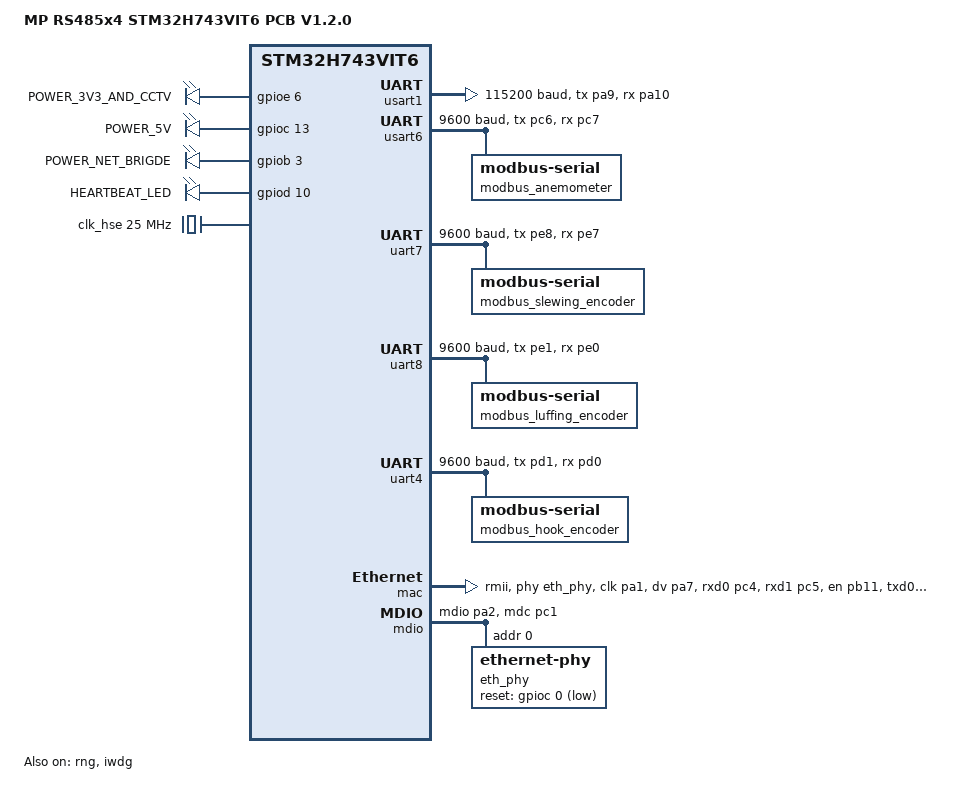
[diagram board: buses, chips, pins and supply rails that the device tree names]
/*
 * SPDX-License-Identifier: Apache-2.0
 */

/dts-v1/;
#include <st/h7/stm32h743Xi.dtsi>
#include <st/h7/stm32h743vitx-pinctrl.dtsi>
#include <zephyr/dt-bindings/gpio/gpio.h>

/ {
	model = "MP RS485x4 STM32H743VIT6 PCB V1.2.0";
	compatible = "mp,mp-rs485x4-stm32h743vit6";

	chosen {
		zephyr,sram = &sram0;
		zephyr,flash = &flash0;
		zephyr,code-partition = &slot0_partition;
		zephyr,console = &usart1;
		zephyr,shell-uart = &usart1;
	};

	aliases {
		power-3v3-and-cctv = &power_3v3_and_cctv;
		power-5v = &power_5v;
		power-net-brigde = &power_net_brigde;
		modbus-slewing-encoder = &modbus_slewing_encoder;
		modbus-luffing-encoder = &modbus_luffing_encoder;
		modbus-hook-encoder = &modbus_hook_encoder;
		modbus-anemometer = &modbus_anemometer;
		heartbeat-led = &heartbeat_led;
		watchdog0 = &iwdg;
	};

	power_control {
		compatible = "gpio-leds";

		power_3v3_and_cctv: power_3v3_and_cctv {
			gpios = <&gpioe 6 GPIO_ACTIVE_HIGH>;
			label = "POWER_3V3_AND_CCTV";
		};

		power_5v: power_5v {
			gpios = <&gpioc 13 GPIO_ACTIVE_HIGH>;
			label = "POWER_5V";
		};

		power_net_brigde: power_net_brigde {
			gpios = <&gpiob 3 GPIO_ACTIVE_HIGH>;
			label = "POWER_NET_BRIGDE";
		};
	};

	leds {
		compatible = "gpio-leds";

		heartbeat_led: heartbeat_led {
			gpios = <&gpiod 10 GPIO_ACTIVE_HIGH>;
			label = "HEARTBEAT_LED";
		};
	};
};

&flash0 {
	partitions {
		compatible = "fixed-partitions";
		#address-cells = <1>;
		#size-cells = <1>;

		boot_partition: partition@0 {
			label = "mcuboot";
			reg = <0x00000000 0x00020000>;
		};

		slot0_partition: partition@20000 {
			label = "image-0";
			reg = <0x00020000 0x000c0000>;
		};

		slot1_partition: partition@e0000 {
			label = "image-1";
			reg = <0x000e0000 0x000c0000>;
		};

		scratch_partition: partition@1a0000 {
			label = "image-scratch";
			reg = <0x001a0000 0x00020000>;
		};

		app_storage_partition: partition@1c0000 {
			label = "app-storage";
			reg = <0x001c0000 0x00040000>;
		};
	};
};

&clk_hse {
	clock-frequency = <DT_FREQ_M(25)>;
	status = "okay";
};

&clk_hsi48 {
	status = "okay";
};

&pll {
	div-m = <5>;
	mul-n = <96>;
	div-p = <2>;
	div-q = <10>;
	div-r = <2>;
	clocks = <&clk_hse>;
	status = "okay";
};

&rcc {
	clocks = <&pll>;
	clock-frequency = <DT_FREQ_M(240)>;
	d1cpre = <1>;
	hpre = <2>;
	d1ppre = <1>;
	d2ppre1 = <1>;
	d2ppre2 = <1>;
	d3ppre = <1>;
};

&pwr {
	power-supply = "ldo";
};

&rng {
	status = "okay";
};

&iwdg {
	status = "okay";
};

&usart1 {
	pinctrl-0 = <&usart1_tx_pa9 &usart1_rx_pa10>;
	pinctrl-names = "default";
	current-speed = <115200>;
	status = "okay";
};

&usart6 {
	pinctrl-0 = <&usart6_tx_pc6 &usart6_rx_pc7>;
	pinctrl-names = "default";
	current-speed = <9600>;
	status = "okay";

	modbus_anemometer: modbus-anemometer {
		compatible = "zephyr,modbus-serial";
		status = "okay";
	};
};

&uart7 {
	pinctrl-0 = <&uart7_tx_pe8 &uart7_rx_pe7>;
	pinctrl-names = "default";
	current-speed = <9600>;
	status = "okay";

	modbus_slewing_encoder: modbus-slewing-encoder {
		compatible = "zephyr,modbus-serial";
		status = "okay";
	};
};

&uart8 {
	pinctrl-0 = <&uart8_tx_pe1 &uart8_rx_pe0>;
	pinctrl-names = "default";
	current-speed = <9600>;
	status = "okay";

	modbus_luffing_encoder: modbus-luffing-encoder {
		compatible = "zephyr,modbus-serial";
		status = "okay";
	};
};

&uart4 {
	pinctrl-0 = <&uart4_tx_pd1 &uart4_rx_pd0>;
	pinctrl-names = "default";
	current-speed = <9600>;
	status = "okay";

	modbus_hook_encoder: modbus-hook-encoder {
		compatible = "zephyr,modbus-serial";
		status = "okay";
	};
};

&mac {
	pinctrl-0 = <&eth_ref_clk_pa1
		     &eth_crs_dv_pa7
		     &eth_rxd0_pc4
		     &eth_rxd1_pc5
		     &eth_tx_en_pb11
		     &eth_txd0_pb12
		     &eth_txd1_pb13>;
	pinctrl-names = "default";
	local-mac-address = [02 00 00 00 02 32];
	phy-connection-type = "rmii";
	phy-handle = <&eth_phy>;
	status = "okay";
};

&mdio {
	pinctrl-0 = <&eth_mdio_pa2 &eth_mdc_pc1>;
	pinctrl-names = "default";
	status = "okay";

	eth_phy: ethernet-phy@0 {
		compatible = "ethernet-phy";
		reg = <0x00>;
		reset-gpios = <&gpioc 0 GPIO_ACTIVE_LOW>;
		reset-assert-duration-us = <10000>;
		reset-deassertion-timeout-ms = <100>;
	};
};
